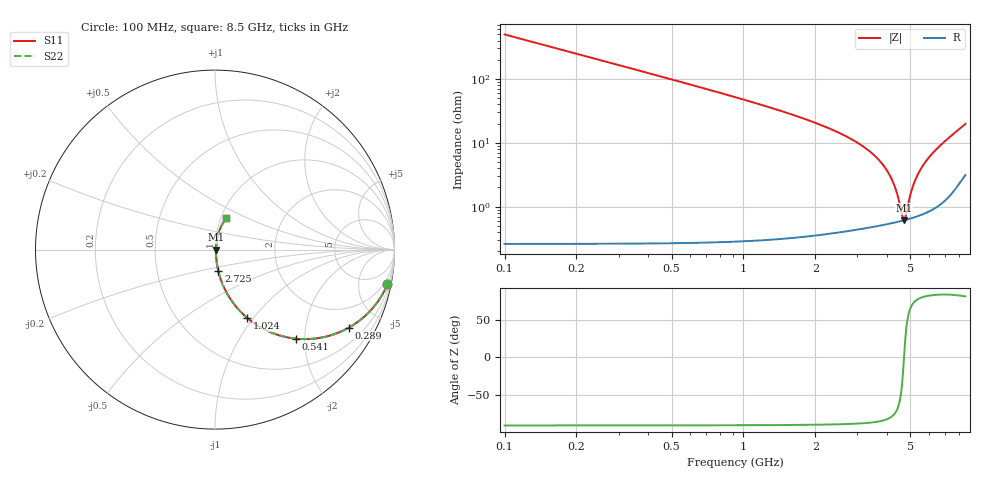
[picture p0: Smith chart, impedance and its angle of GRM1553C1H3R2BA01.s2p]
!Murata Part Number: GRM1553C1H3R2BA01
!These Parameters are Measured in Series Mode Connection
!Data Generated on Mar 30, 2021
!  o--ll--o
!Port1  Port2
!  o------o
!Operation Temp=25[degC], DC Bias Voltage=0[V]
!Freq. Start=100[MHz] Stop=9[GHz] 401[Steps]
# Hz S RI R 50
!Freq.(Hz) S11(Real) S11(Imag) S21(Real) S21(Imag) S12(Real) S12(Imag) S22(Real) S22(Imag)
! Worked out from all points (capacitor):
!   401 points, 100 MHz to 8.5 GHz, reference 50 ohm
!   read as one part in series: C = 3.2 pF near 142 MHz
!   lowest |Z| = 610 mohm at 4.699 GHz (marker M1)
!   series resonance near 4.703 GHz, so ESL is about 360 pH
!   S11 on the Smith chart (normalised r, x): 100 MHz: 1.01, -9.94; 289 MHz: 1.01, -3.43; 541 MHz: 1.01, -1.82; 1.024 GHz: 1.01, -0.93; 2.725 GHz: 1.01, -0.25; 8.5 GHz: 1.06, +0.39
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1e8  0.961 -0.1933  0.039 0.1933  0.039 0.1933  0.961 -0.1933
2.05e8  0.8541 -0.3525  0.1459 0.3525  0.1459 0.3525  0.8541 -0.3525
2.89e8  0.7459 -0.4346  0.2541 0.4346  0.2541 0.4346  0.7459 -0.4346
5.41e8  0.4518 -0.4962  0.5482 0.4962  0.5482 0.4962  0.4518 -0.4962
7.51e8  0.2952 -0.454  0.7048 0.454  0.7048 0.454  0.2952 -0.454
1.024e9  0.1784 -0.3798  0.8216 0.3798  0.8216 0.3798  0.1784 -0.3798
1.507e9  0.0837 -0.2717  0.9163 0.2717  0.9163 0.2717  0.0837 -0.2717
2.725e9  0.0189 -0.1205  0.9811 0.1205  0.9811 0.1205  0.0189 -0.1205
2.914e9  0.0155 -0.1051  0.9845 0.1051  0.9845 0.1051  0.0155 -0.1051
3.775e9  0.00738 -0.048  0.9926 0.048  0.9926 0.048  0.00738 -0.048
4.069e9  0.00637 -0.0318  0.9936 0.0318  0.9936 0.0318  0.00637 -0.0318
4.3e9  0.00599 -0.0198  0.994 0.0198  0.994 0.0198  0.00599 -0.0198
4.447e9  0.00591 -0.0124  0.9941 0.0124  0.9941 0.0124  0.00591 -0.0124
4.636e9  0.00599 -0.0032  0.994 0.0032  0.994 0.0032  0.00599 -0.0032
4.699e9  0.00606 -0.0002  0.9939 0.0002  0.9939 0.0002  0.00606 -0.0002
4.762e9  0.00615 0.00278  0.9939 -0.00278  0.9939 -0.00278  0.00615 0.00278
4.972e9  0.00658 0.0125  0.9934 -0.0125  0.9934 -0.0125  0.00658 0.0125
5.161e9  0.00714 0.0211  0.9929 -0.0211  0.9929 -0.0211  0.00714 0.0211
5.707e9  0.00974 0.0453  0.9903 -0.0453  0.9903 -0.0453  0.00974 0.0453
6.295e9  0.0143 0.0709  0.9857 -0.0709  0.9857 -0.0709  0.0143 0.0709
7.114e9  0.025 0.1078  0.975 -0.1078  0.975 -0.1078  0.025 0.1078
8.5e9  0.0637 0.1771  0.9363 -0.1771  0.9363 -0.1771  0.0637 0.1771
